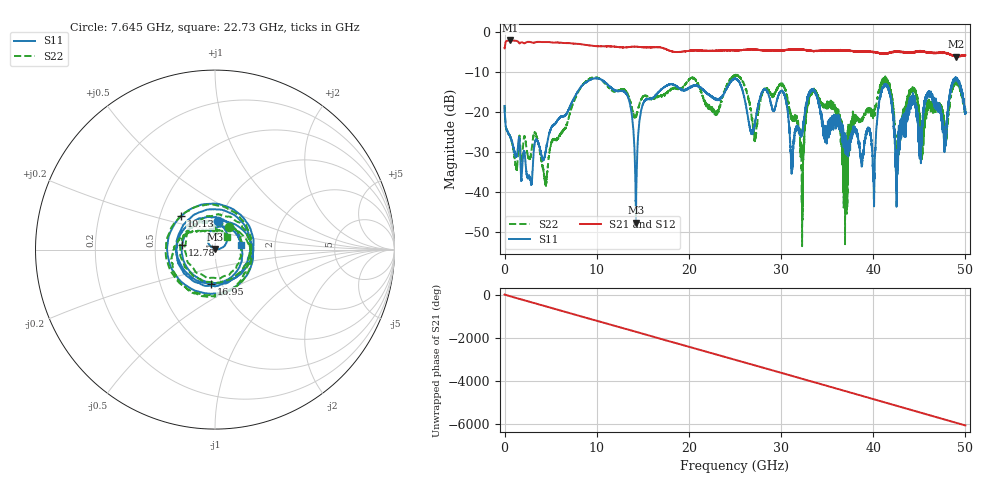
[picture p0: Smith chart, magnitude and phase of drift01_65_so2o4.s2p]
!Created with skrf (http://scikit-rf.org).
# Hz S RI R 50.0
!freq ReS11 ImS11 ReS21 ImS21 ReS12 ImS12 ReS22 ImS22
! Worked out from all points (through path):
!   10001 points, 300 kHz to 50 GHz, reference 50 ohm
!   highest |S21| = -2.00 dB at 575.3 MHz (marker M1); lowest = -6.0 dB at 48.98 GHz (marker M2)
!   group delay of S21, straight-line fit = 336 ps
!   lowest |S11| = -47.6 dB at 14.25 GHz (marker M3), VSWR 1.01, Z = 50 + j0.415 ohm
!   |S11| at or under -10 dB: start of sweep to end of sweep
!   |S22| runs from -53.5 to -10.6 dB; largest |S21 - S12| = 0.021
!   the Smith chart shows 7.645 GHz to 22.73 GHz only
!   S11 on the Smith chart (normalised r, x): 7.645 GHz: 0.98, +0.32; 10.13 GHz: 0.64, +0.26; 12.78 GHz: 0.69, +0.04; 16.95 GHz: 0.89, -0.35; 22.73 GHz: 1.34, +0.07
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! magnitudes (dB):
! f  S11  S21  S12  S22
! 300 kHz  -18.4  -3.9  -4.0  -18.2
! 575.3 MHz  -26.0  -2.0  -2.0  -25.9
! 4.445 GHz  -29.9  -2.4  -2.4  -37.8
! 7.645 GHz  -16.0  -2.8  -2.8  -16.6
! 8.335 GHz  -13.5  -3.0  -3.0  -13.5
! 10.13 GHz  -11.5  -3.4  -3.4  -11.4
! 12.78 GHz  -14.6  -3.7  -3.7  -14.3
! 14.25 GHz  -47.6  -3.6  -3.6  -21.1
! 16.67 GHz  -15.0  -3.7  -3.7  -15.9
! 16.95 GHz  -14.4  -3.8  -3.8  -15.7
! 22.73 GHz  -16.5  -4.6  -4.6  -20.2
! 25 GHz  -11.6  -4.5  -4.5  -10.9
! 27.18 GHz  -22.4  -4.3  -4.3  -26.1
! 30.22 GHz  -14.8  -4.5  -4.5  -13.4
! 32.28 GHz  -25.2  -4.3  -4.3  -53.5
! 33.34 GHz  -14.2  -4.6  -4.6  -14.8
! 36.99 GHz  -27.6  -4.4  -4.5  -33.9
! 40.05 GHz  -37.7  -4.9  -4.8  -20.0
! 41.67 GHz  -13.8  -5.1  -5.1  -13.6
! 42.62 GHz  -32.2  -4.8  -4.8  -34.1
! 48.98 GHz  -11.3  -6.0  -6.0  -12.6
! 50 GHz  -20.0  -5.7  -5.7  -19.4
